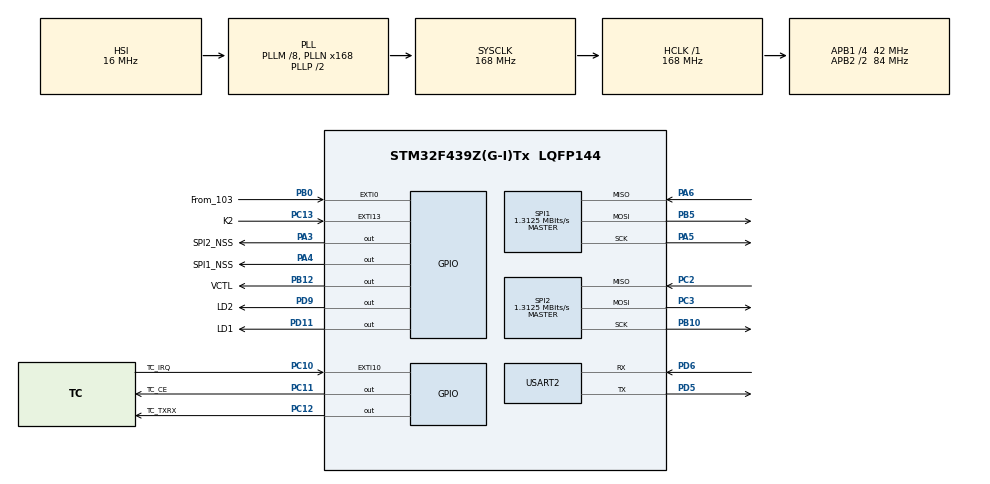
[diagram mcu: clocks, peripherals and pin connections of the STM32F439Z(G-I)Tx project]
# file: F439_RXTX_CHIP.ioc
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Mcu.Family=STM32F4
Mcu.Name=STM32F439Z(G-I)Tx
Mcu.Package=LQFP144
NVIC.EXTI0_IRQn=true\:0\:0\:false\:false\:true\:true\:true\:true
NVIC.EXTI15_10_IRQn=true\:0\:0\:false\:false\:true\:true\:true\:true
NVIC.PriorityGroup=NVIC_PRIORITYGROUP_4
NVIC.TIM4_IRQn=true\:0\:0\:false\:false\:true\:true\:true\:true
NVIC.USART2_IRQn=true\:0\:0\:false\:false\:true\:true\:true\:true
PA3.GPIO_Label=SPI2_NSS
PA3.Signal=GPIO_Output
PA4.GPIO_Label=SPI1_NSS
PA4.Signal=GPIO_Output
PA5.Mode=Full_Duplex_Master
PA5.Signal=SPI1_SCK
PA6.Mode=Full_Duplex_Master
PA6.Signal=SPI1_MISO
PB0.GPIO_Label=From_103
PB0.Signal=GPXTI0
PB10.Mode=Full_Duplex_Master
PB10.Signal=SPI2_SCK
PB12.GPIO_Label=VCTL
PB12.Signal=GPIO_Output
PB5.Mode=Full_Duplex_Master
PB5.Signal=SPI1_MOSI
PC10.GPIO_Label=TC_IRQ
PC10.Signal=GPXTI10
PC11.GPIO_Label=TC_CE
PC11.Signal=GPIO_Output
PC12.GPIO_Label=TC_TXRX
PC12.Signal=GPIO_Output
PC13.GPIO_Label=K2
PC13.Signal=GPXTI13
PC14/OSC32_IN.Mode=LSE-External-Clock-Source
PC14/OSC32_IN.Signal=RCC_OSC32_IN
PC15/OSC32_OUT.Mode=LSE-External-Clock-Source
PC15/OSC32_OUT.Signal=RCC_OSC32_OUT
PC2.Mode=Full_Duplex_Master
PC2.Signal=SPI2_MISO
PC3.Mode=Full_Duplex_Master
PC3.Signal=SPI2_MOSI
PD11.GPIO_Label=LD1
PD11.Signal=GPIO_Output
PD5.Mode=Asynchronous
PD5.Signal=USART2_TX
PD6.Mode=Asynchronous
PD6.Signal=USART2_RX
PD9.GPIO_Label=LD2
PD9.Signal=GPIO_Output
PG11.Signal=ETH_TX_EN
PH0/OSC_IN.Mode=HSE-External-Oscillator
PH0/OSC_IN.Signal=RCC_OSC_IN
PH1/OSC_OUT.Mode=HSE-External-Oscillator
PH1/OSC_OUT.Signal=RCC_OSC_OUT
ProjectManager.HeapSize=0x200
ProjectManager.StackSize=0x400
ProjectManager.TargetToolchain=MDK-ARM V5.32
RCC.48MHZClocksFreq_Value=84000000
RCC.AHBFreq_Value=168000000
RCC.APB1CLKDivider=RCC_HCLK_DIV4
RCC.APB1Freq_Value=42000000
RCC.APB1TimFreq_Value=84000000
RCC.APB2CLKDivider=RCC_HCLK_DIV2
RCC.APB2Freq_Value=84000000
RCC.APB2TimFreq_Value=168000000
RCC.CortexFreq_Value=168000000
RCC.HCLKFreq_Value=168000000
RCC.HSE_VALUE=8000000
RCC.HSI_VALUE=16000000
RCC.LSE_VALUE=32768
RCC.PLLM=8
RCC.PLLN=168
RCC.RCC_RTC_Clock_SourceVirtual=RCC_RTCCLKSOURCE_HSE_DIV16
RCC.RCC_RTC_Clock_Source_FROM_HSE=RCC_RTCCLKSOURCE_HSE_DIV16
RCC.SYSCLKFreq_VALUE=168000000
RCC.SYSCLKSource=RCC_SYSCLKSOURCE_PLLCLK
RCC.VCOOutputFreq_Value=336000000
RTC.AsynchPrediv=124
RTC.Date=1
RTC.Hours=12
RTC.Minutes=22
RTC.Month=RTC_MONTH_AUGUST
RTC.SynchPrediv=3999
RTC.WeekDay=RTC_WEEKDAY_THURSDAY
RTC.Year=24
SPI1.BaudRatePrescaler=SPI_BAUDRATEPRESCALER_64
SPI1.CLKPolarity=SPI_POLARITY_LOW
SPI1.CalculateBaudRate=1.3125 MBits/s
SPI1.Direction=SPI_DIRECTION_2LINES
SPI1.Mode=SPI_MODE_MASTER
SPI1.VirtualType=VM_MASTER
SPI2.BaudRatePrescaler=SPI_BAUDRATEPRESCALER_32
SPI2.CalculateBaudRate=1.3125 MBits/s
SPI2.Direction=SPI_DIRECTION_2LINES
SPI2.Mode=SPI_MODE_MASTER
SPI2.VirtualType=VM_MASTER
TIM3.Prescaler=83
TIM4.Period=3899
TIM4.Prescaler=839
USART2.VirtualMode=VM_ASYNC
VP_CRC_VS_CRC.Mode=CRC_Activate
VP_RTC_VS_RTC_Activate.Mode=RTC_Enabled
VP_RTC_VS_RTC_Calendar.Mode=RTC_Calendar
VP_TIM3_VS_ClockSourceINT.Mode=Internal
VP_TIM4_VS_ClockSourceINT.Mode=Internal
board=custom

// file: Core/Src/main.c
/* USER CODE BEGIN Header */
/**
  ******************************************************************************
  * @file           : main.c
  * @brief          : Main program body
  ******************************************************************************
  * @attention
  *
  * Copyright (c) 2024 STMicroelectronics.
  * All rights reserved.
  *
  * This software is licensed under terms that can be found in the LICENSE file
  * in the root directory of this software component.
  * If no LICENSE file comes with this software, it is provided AS-IS.
  *
  ******************************************************************************
  */
  //鯵は岑ってる、このプロジェクトわ��う、でもね
  //It walked through BK5822 which can really be called shit and TC32169
  //And hereby it's going to develop a real RSU for Shanxi transportation
  //Thinking that gonna not be possible but I still develop on this cuz gotta no way else
  //This project has been compiled into C/C++ mixed due to data structures
  //Which is pretty bad for coders
  //とにかく　これは云輝に�yしいですね
  //---by エルウィン はちがつ、にじゅうろくひ
/* USER CODE END Header */
#include "main.h"
#include "crc.h"
#include "rtc.h"
#include "spi.h"
#include "tim.h"
#include "usart.h"
#include "gpio.h"

/* USER CODE BEGIN Includes */
#include "stdio.h"
#include "stdlib.h"
//#include "string.h"
#include "cassert"
//#include "BK5822.h"
#include "frame.h"
#include "layerni.h"
#include "TC32169.h"
#include "gurenge.h"
#include "time.h"
/* USER CODE END Includes */

/* USER CODE BEGIN PTD */
//#define OBU_VERSION
//#define ACCURATE_RX_MODE
//#define RSU_VERSION_LEGACY

#define RSU_VERSION
//#define CHEAP_THRILLS//test without PC
#define INTEGRATE_F103//test with F103 on chip level
//#define TCtest
#define RTC_TEST

/***********畠て駅勣************/
#define RSU_RECV_TEST
#define RSU_TRAN_TEST
//If u dont have a PC disable this
#define RSU_PC_INIT
/******************************/

#define transmit_MAXCNT 5

uint8_t Rxbuff;
volatile uint8_t FF_flg = 0;
uint8_t FF_cnt = 0;
uint16_t _frame_len = 0;
uint16_t _data_len = 0;
uint8_t pc_frame[MAX_LEN] = { 0 };
uint8_t pc_data[MAX_LEN] = { 0 };
uint8_t pc_data_tmp[MAX_LEN] = { 0 };
EF04Opt ef04;

uint8_t LSDU[128] = { 0 };
uint8_t LSDU_len;
uint8_t mac_address[4] = { 0 };
uint8_t mac_control;
uint8_t FCS[2];
uint8_t tx_buf[128];
uint8_t reg_test[4];
uint8_t rsctl = 0x00;

uint8_t RESET_triggered = 0;
uint8_t TC_rx_recved = 1;
volatile uint8_t transmit_permit = 0;
int rand_len;

extern uint8_t SwitchTx_USED;
extern uint8_t SwitchRx_USED;

#ifdef INTEGRATE_F103
volatile uint8_t F103_triggered = 0;
#endif // INTEGRATE_F103

#ifdef TCtest
uint8_t tctestarray[12] = { 0x7E, 0x88, 0x88, 0x88, 0x88, 0x07, 0x03, 0x91, 0x6D, 0x00, 0x02, 0x7E };
uint8_t tctestfreq[2] = { 0x00, 0x00 };
#endif // TCtest

#ifdef RSU_RECV_TEST
uint8_t tc_length[2];
uint16_t tc_length16;
#endif // TC_RECV_TEST

macctl_up OBU_macctl = 0x50;
Macs OBU_mac = { 0xFF, 0xFF, 0xFF, 0xFF };//test mac
#ifdef OBU_VERSION
Commu_Stage OBU_stage = RSU_BST;
#endif

#ifdef RSU_VERSION
Commu_Stage RSU_stage = RSU_BST;
#endif

#ifdef RTC_TEST
uint8_t unix[4] = { 0x5c, 0x2c, 0x6f, 0xcf };//16:01:19
const unsigned int ucnt = _u8_4_to_32(unix);
volatile unsigned int ucnt2;
#endif // RTC_TEST

/* USER CODE END PTD */

/* USER CODE BEGIN PD */
//int fputc(int ch, FILE* fp)  // 徭協吶堪笥嶷協�鮑�方��繍printf補竃欺USART3宴噐距編
//{
//    HAL_UART_Transmit(&huart2, (uint8_t*)&ch, 1, 0xff);
//    return ch;
//}
/* ------------------??????printf???????1?-------------------*/
namespace mystd
{
	template <int _Size = 128>
	void printf(const char* _Format)
	{
		char* words = new char[_Size];
		int len = sprintf(words, "%s", _Format);
		//assert(len < _Size);//corruption
		int cnt = 0;
		while (cnt < len)
		{
			HAL_UART_Transmit(&huart2, (uint8_t*)&words[cnt++], 1, 0xff);
		}
		delete[] words;
	}
}

void HAL_UART_RxCpltCallback(UART_HandleTypeDef* huart)
{
	//Assume uart? recved a frame from PC
	//Storage the whole frame into an array including 0xFF
	if (Rxbuff == PACK_START)
	{
		pc_frame[_frame_len++] = Rxbuff;
		FF_cnt++;
	}
	else
	{
		if (FF_cnt == 2) pc_frame[_frame_len++] = Rxbuff;
		//0xffff represents pack starts
	}
	if (FF_cnt == 3) {
		FF_cnt = 0;
		FF_flg = 1;
		//a frame ends
	}
	HAL_UART_Receive_IT(&huart2, (uint8_t*)&Rxbuff, 1);
}
void HAL_TIM_PeriodElapsedCallback(TIM_HandleTypeDef* htim)
{
	transmit_permit = 1;
}
/* USER CODE END PD */

void SystemClock_Config(void);
/* USER CODE BEGIN PFP */
//uint8_t BK_ID_read(void);
//void BK_reg_all_read(void);
/* USER CODE END PFP */

int main(void)
{
	/* USER CODE BEGIN 1 */
		//これで鯵が�h苧する
		/******************************/
		/*
		* Startup
		* Init by PC(UART)
		* keep BSTing
		* Trade, communicate with PC
		* done
		*/
		/******************************/
	int transmit_cnt = 0;
	uint8_t reTranlen = 0;
	//srand(0x7FFFFFFF);

  /* USER CODE END 1 */

  /* MCU Configuration--------------------------------------------------------*/

  /* Reset of all peripherals, Initializes the Flash interface and the Systick. */
	HAL_Init();

	/* Configure the system clock */
	SystemClock_Config();

	/* Initialize all configured peripherals */
	MX_GPIO_Init();
	MX_CRC_Init();
	MX_SPI1_Init();
	MX_SPI2_Init();
	MX_TIM3_Init();
	MX_TIM4_Init();
	MX_USART2_UART_Init();
	MX_RTC_Init();
	/* USER CODE BEGIN 2 */
	//printf("SYSTEM INIT\n");
	srand(2077);
	//srand(time(NULL));
	HAL_TIM_Base_Start_IT(&htim4);
	HAL_UART_Receive_IT(&huart2, (uint8_t*)&Rxbuff, 1);
	//BK_init();
	TC_init();
	ToggleLD1();
	OBU_mac.macctl = (uint8_t)OBU_macctl;
	//rx_status_d = 0x00;
	SwitchRx();
	/* USER CODE END 2 */

	/* Infinite loop */
	/* USER CODE BEGIN WHILE */
	TC_TxPrepare();
	//printf("TC32169 has been initialized. TX mode by default.\n");
	//#ifdef RSU_RECV_TEST
//	TC_Next_Rx();
//	TC_Rx();
//	delay_us(44);
//	printf("MODE CHANGED TO RECV\n");
//#endif // RSU_RECV_TEST
#ifdef RSU_TRAN_TEST
	transmit_permit = 1;

#ifdef RSU_PC_INIT

	//Here init by PC upward

	//trans B0, 0x98
	uint8_t* B0temp = new uint8_t[27]{
		0xB0, 0x00, 0x01,
		0x88, 0x88, 0x88, 0x88, 0x88, 0x88,
		0x99, 0x99, 0x99, 0x99, 0x99, 0x99,
		0x77, 0x66, 0x12, 0x34, 0x56, 0x88, 0x88,
		0x00, 0x00, 0x00, 0x00, 0x00
	};
	frame_build(0x98, pc_frame, B0temp, (uint16_t)27U);
	HAL_UART_Transmit(&huart2, pc_frame, 27 + 5, 0xff);
	memset(pc_frame, 0, 128);
	//recv C0
	while (!FF_flg)
	{
	}
	frame_parse(pc_frame, pc_data, &rsctl, _frame_len, &_data_len);
	if (pc_data[0] != 0xC0)
	{
		mystd::printf<>("ERROR NO INIT FRAME RECEIVED\n");
		exit(EXIT_FAILURE);
	}
	unix[0] = pc_data[1];
	unix[1] = pc_data[2];
	unix[2] = pc_data[3];
	unix[3] = pc_data[4];
	ef04.EF04Opt = pc_data[17];
	ef04.EF04offset = (uint16_t)(pc_data[18] << 8 | pc_data[19]);
	ef04.EF04len = (uint16_t)(pc_data[20] << 8 | pc_data[21]);
	//trans B0, not 0x98
	memset(pc_frame, 0, 128);
	frame_build(0x78, pc_frame, B0temp, (uint16_t)27U);
	delete[] B0temp;
	HAL_UART_Transmit(&huart2, pc_frame, 27 + 5, 0xff);
	//recv empty
	while (!FF_flg)
	{
	}
	memset(pc_frame, 0, 128);

#endif // RSU_PC_INIT

#endif // RSU_TRAN_TEST

#ifdef RTC_TEST
	unixTime_setRTC(unix, &hrtc);
#endif // RTC_TEST

	uint8_t* BaconID = new uint8_t[4]{ 0x02,0x00,0x00,0x7A };
	uint8_t* len22 = new uint8_t[2]{ 0x00, 0x01 };
	uint8_t* len122 = new uint8_t[2]{ 0x00, 0x01 };
	uint8_t* len152 = new uint8_t[2]{ 0x00, 0x01 };
	uint8_t* len192 = new uint8_t[2]{ 0x00, 0x01 };
	_BST cbst(BaconID, unix, 0x01, 0x1A,
		len22, len122, len152, len192);
	delete[] BaconID;
	delete[] len22;
	delete[] len122;
	delete[] len152;
	delete[] len192;

	uint8_t* RndRSU = new uint8_t[8]{ 0x12, 0x23, 0x34, 0x45,
	0x56, 0x67, 0x78, 0x89 };
	_GetSecureRq cgsrq(RndRSU, 0x90, 0x01);
	delete[] RndRSU;

	_TransferChannelRq ctcrq(0x99);

	_EventReportRq cerrq;

	while (1)
	{
		/* USER CODE END WHILE */

		/* USER CODE BEGIN 3 */
		for (int i = 0; i < 1e6 / 1000; i++)
		{
			delay_us(1000);
		}
		unixTime_setFrame(unix, &hrtc);
		ucnt2 = _u8_4_to_32(unix);
		if ((ucnt2 - ucnt) % 5 == 0) ToggleLD2();
		mystd::printf<15>("Debug session.\n");
		//HAL_UART_Transmit(&huart2, unix, 4, 0xff);
#ifdef TCtest
			//TC_TxPrepare();
	//		TC_read_reg(TCread | _reg7, tctestfreq, 2);
	//		printf("First=%02X%02X\n", tctestfreq[0], tctestfreq[1]);
		TC_write_fifo(tctestarray, 3);
		HAL_Delay(10);
		//		TC_read_reg(TCread | _reg10, tctestfreq, 2);
		//		printf("PWR=%02X%02X, reference = 0003\n", tctestfreq[0], tctestfreq[1]);
#endif // TCtest
#ifdef RSU_TRAN_TEST
		if (RSU_stage >= RSU_BST && RSU_stage <= RSU_release)
		{
			//F103_triggered = detected car in range
			if (F103_triggered || RSU_stage == RSU_release)
			{
				//兜めてのジェネレ�`ション
				if (transmit_cnt == 0)
				{
					memset(LSDU, 0, 128);
					memset(tx_buf, 0, 128);
					//tx_buf[0] = (uint8_t)RSU_stage;
					//rand_len = rand() % 10;
					//for (int i = 1; i <= rand_len; i++)
					//{
					//	tx_buf[i] = tx_buf[i] | (uint8_t)rand();
					//	if (tx_buf[i] == 0x7E) tx_buf[i] = 0x7F;
					//}

					//LSDU_build(LSDU, tx_buf, rand_len + 1);
					//memset(tx_buf, 0, 128);
					//recv_build(tx_buf, LSDU, &OBU_mac, rand_len + 3);
					//Transmit at the beginning
					//TC_write_fifo(tx_buf, 3 + 9 + rand_len);
					if (RSU_stage == RSU_BST)
					{
						OBU_mac.macadd[0] = 0xFF;
						OBU_mac.macadd[1] = 0xFF;
						OBU_mac.macadd[2] = 0xFF;
						OBU_mac.macadd[3] = 0xFF;
						unixTime_setFrame(unix, &hrtc);
						cbst.update_unix(unix);
						cbst.msg_construct(tx_buf);
						LSDU_build(LSDU, tx_buf, cbst.lengthwa());
						recv_build(tx_buf, LSDU, &OBU_mac, cbst.lengthwa() + 2);
						TC_write_fifo(tx_buf, cbst.lengthwa() + 11);
						reTranlen = cbst.lengthwa() + 11;
					}
					else if (RSU_stage == RSU_baseinfo)
					{
						cgsrq.msg_construct(tx_buf);
						LSDU_build(LSDU, tx_buf, cgsrq.lengthwa());
						recv_build(tx_buf, LSDU, &OBU_mac, cgsrq.lengthwa() + 2);
						TC_write_fifo(tx_buf, cgsrq.lengthwa() + 11);
						reTranlen = cgsrq.lengthwa() + 11;
					}
					else if (RSU_stage == RSU_release)
					{
						cerrq.msg_construct(tx_buf);
						LSDU_build(LSDU, tx_buf, cerrq.lengthwa());
						recv_build(tx_buf, LSDU, &OBU_mac, cerrq.lengthwa() + 2);
						TC_write_fifo(tx_buf, cerrq.lengthwa() + 11);
						reTranlen = cerrq.lengthwa() + 11;
					}
					else//ctcrq //am i writing ptaisa lol
					{

					}
					transmit_cnt++;
				}
				//transmit if didnt recv anything
				// a timer is needed for every 13 ms permits a transmission
				//plan - TIM4, 13000us cycle
				if (transmit_permit && !TC_rx_recved)
				{
					TC_Next_Tx();
					TC_Tx();
					delay_us(44);
					//printf("Didn't recv, retrasmitting...\n");
					TC_write_fifo(tx_buf, reTranlen);
					transmit_cnt++;
					transmit_permit = 0;
					//exceeded
					if (transmit_cnt > transmit_MAXCNT)
					{
						RSU_stage = RSU_BST;
						transmit_cnt = 0;
						//printf("Congratulations! Transmission Stack Overload!\n");
					}
				}
				//transmitted, wait for recv->change stat or retrans
				if (TC_tran_stat == 0x01)
				{
					TC_rx_recved = 0;
					TC_tran_stat = 0x00;
					//next for RX
					TC_Next_Rx();
					TC_Rx();
					delay_us(44);

				}
			}
		}
#endif // RSU_TRAN_TEST

#ifdef RSU_RECV_TEST
		if (TC_recv_stat == 0x01)
		{
			//got frame
			  //printf("Received the following msgs: \n");
			TC_recv_stat = 0x00;
			TC_read_length(tc_length);
			tc_length16 = ((uint16_t)tc_length[0] << 8) | tc_length[1];
			//printf("Length = %d\n", tc_length16);
			if (/*tc_length16 == 0 || */TC_rxlen_err || TC_rx_abort)
			{
				RESET_triggered = 1;
				TC_autoreset();
				TC_Next_Rx();
				TC_Rx();
				delay_us(44);
			}
			if (!RESET_triggered && tc_length16)
			{
				TC_read_fifo(TC_buf, tc_length16);
				for (int i = 0; i < tc_length16; i++)
				{
					printf("%02X, ", TC_buf[i]);
				}
				printf("\n");
				//parse frame
				recv_parse(TC_buf, mac_address, &mac_control, LSDU, FCS, &LSDU_len);
				//state machine switch
				if (RSU_stage == RSU_BST)
				{
					//recved VST, info store
					OBU_mac.macadd[0] = mac_address[0];
					OBU_mac.macadd[1] = mac_address[1];
					OBU_mac.macadd[2] = mac_address[2];
					OBU_mac.macadd[3] = mac_address[3];
					pc_data[0] = 0xB2;
					pc_data[1] = mac_address[0];
					pc_data[2] = mac_address[1];
					pc_data[3] = mac_address[2];
					pc_data[4] = mac_address[3];
					pc_data[5] = 0x00;
					pc_data[6] = LSDU[9];
					pc_data[7] = LSDU[10];
					pc_data[8] = LSDU[11];
					pc_data[9] = LSDU[12];
					pc_data[10] = LSDU[13];
					pc_data[11] = LSDU[14];
					pc_data[12] = LSDU[15];
					pc_data[13] = LSDU[16];//contractProvider
					pc_data[14] = LSDU[17];//contractType
					pc_data[15] = LSDU[18];//contractVer
					pc_data[16] = LSDU[19];
					pc_data[17] = LSDU[20];
					pc_data[18] = LSDU[21];
					pc_data[19] = LSDU[22];
					pc_data[20] = LSDU[23];
					pc_data[21] = LSDU[24];
					pc_data[22] = LSDU[25];
					pc_data[23] = LSDU[26];//contractSerialNum
					pc_data[24] = LSDU[27];
					pc_data[25] = LSDU[28];
					pc_data[26] = LSDU[29];
					pc_data[27] = LSDU[30];
					pc_data[28] = LSDU[31];
					pc_data[29] = LSDU[32];
					pc_data[30] = LSDU[33];
					pc_data[31] = LSDU[34];//contractDate
					pc_data[32] = 0x00;
					pc_data[33] = LSDU[LSDU_len - 2];
					pc_data[34] = LSDU[LSDU_len - 1];
					//transmit B2 to PC
					data_preprocess(pc_data_tmp, pc_data, 35, &_data_len, 't');
					rsctl = 0x08;
					frame_build(rsctl, pc_frame, pc_data_tmp, _data_len);
					HAL_UART_Transmit(&huart2, pc_frame, _data_len + 5, 0xfff);
					//nothing to do, wait for PC's C1, state->baseinfo there
				}
				else if (RSU_stage == RSU_baseinfo)
				{
					//recved baseinfo of vehicle, info process

					//change to state 00190002 to new dsrc

				}
				else if (RSU_stage == RSU_00190002)
				{
					//recved 00190002 of vehicle,

					//change to state EF04

				}
				else if (RSU_stage == RSU_EF04)
				{
					//recved EF04

					//transmit B4 to PC

					//wait for PC's C6, state->EF04update
				}
				else if (RSU_stage == RSU_EF04update)
				{
					//recved EF04update

					//change to state 0019
				}
				else if (RSU_stage == RSU_0019)
				{
					//recved 0019

					//change to state 0002

				}
				else if (RSU_stage == RSU_0002)
				{
					//recved 0002

					//transmit B5 to PC

					//wait for PC's C1 and transmit EventReport
				}
				//release state ends in CHEAP THRILL

				/*
				if (LSDU[2] == (uint8_t)OBU_VST) {
					// transmit frame to PC
					printf("VST state set.\nOBU info:\n");
					for (int i = 3; i < LSDU_len; i++)
					{
						printf("%02X, ", LSDU[i]);
					}
					printf("\n");
#ifdef CHEAP_THRILLS
						RSU_stage = RSU_baseinfo;
						transmit_cnt = 0;
#endif // CHEAP_THRILLS
					}
					else if (LSDU[2] == (uint8_t)OBU_baseinfo) {
						//RSU stage to next, 00190002
						RSU_stage = RSU_00190002;
						transmit_cnt = 0;
					}
					else if (LSDU[2] == (uint8_t)OBU_00190002) {
						//RSU stage to next
						RSU_stage = RSU_EF04;
						transmit_cnt = 0;
					}
					else if (LSDU[2] == (uint8_t)OBU_EF04) {
						//transmit frame to PC
						printf("EF04 file of OBU has been recved.\n");
#ifdef CHEAP_THRILLS
						RSU_stage = RSU_EF04update;
						transmit_cnt = 0;
#endif // CHEAP_THRILLS
					}
					else if (LSDU[2] == (uint8_t)OBU_EF04update) {
						//RSU stage to next
						RSU_stage = RSU_0019;
						transmit_cnt = 0;
					}
					else if (LSDU[2] == (uint8_t)OBU_0019) {
						//RSU stage to next
						RSU_stage = RSU_0002;
						transmit_cnt = 0;
					}
					else if (LSDU[2] == (uint8_t)OBU_0002) {
						//transmit frame to PC
						printf("0002 file of OBU has been recved.\n");
#ifdef CHEAP_THRILLS
						RSU_stage = RSU_release;
						F103_triggered = 0;
						transmit_cnt = 0;
#endif // CHEAP_THRILLS
					}
					//SPECIALLY TEST FOR STAGE 6D
					else if (LSDU[2] == (uint8_t)0x6D) {
						//transmit frame to PC
						printf("6D file has been recved.\n");
#ifdef CHEAP_THRILLS
						RSU_stage = RSU_release;
						F103_triggered = 0;
						transmit_cnt = 0;
#endif // CHEAP_THRILLS
					}

					else {
						//RSU stage to next
						RSU_stage = RSU_BST;
						transmit_cnt = 0;
					}
					*/
				TC_rx_recved = 1;
				//next for TX
				TC_Next_Tx();
				TC_Tx();
				delay_us(44);
				//printf("MODE CHANGED TO TRAN\n");
			}
			RESET_triggered = 0;
			}
#ifndef CHEAP_THRILLS
		if (FF_flg) {
			printf("recved frame from pc\n");
			FF_flg = 0;
			//_frame_len pc_frame
			frame_parse(pc_frame, pc_data, &rsctl, _frame_len, &_data_len);
			_frame_len = 0;
			//Then get to know what to do next, for example transmit msg to OBU
			//also, if rx_status_d = 1, may need to transmit frame to PC.
			if (pc_data[0] == 0xC1 && RSU_stage == RSU_BST) {
				RSU_stage = RSU_baseinfo;
				transmit_cnt = 0;
			}
			else if (pc_data[0] == 0xC6 && RSU_stage == RSU_EF04) {
				RSU_stage = RSU_EF04update;
				transmit_cnt = 0;
			}
			else if (pc_data[0] == 0xC1 && RSU_stage == RSU_0002) {
				RSU_stage = RSU_release;
				transmit_cnt = 0;
			}
		}
#endif // !CHEAP_THRILLS

#endif // RSU_RECV_TEST

		//BK_reg_all_read();
		//parsing for frames from pc or 5822
#ifdef OBU_VERSION

#ifdef ACCURATE_RX_MODE
	  //rx_len rx_buf
	  //parse the frame, then 5822 write fifo to response
	  //or uart transmit to pc..

#endif
#endif

#ifdef RSU_VERSION_LEGACY
		//RSU to lane controller
		if (RSU_stage >= RSU_BST && RSU_stage <= RSU_release) {
			//transmit BST to initialize trading
			SwitchTx();
			if (transmit_cnt < transmit_MAXCNT) {
				transmit_cnt++;
				memset(LSDU, 0, Rxbuf_size);
				tx_buf[0] = (uint8_t)RSU_stage;
				rand_len = rand() % 10;
				for (int i = 1; i <= rand_len; i++) {
					tx_buf[i] = tx_buf[i] | (uint8_t)rand();
					if (tx_buf[i] == 0x7E) tx_buf[i] = 0x7F;
					//					printf("%02X-", tx_buf[i]);
				}
				LSDU_build(LSDU, tx_buf, 1 + rand_len);
				memset(tx_buf, 0, 256);
				recv_build(tx_buf, LSDU, &OBU_mac, 3 + rand_len);
				BK_write_fifo(tx_buf, 3 + 9 + rand_len);
			}
			else {
				transmit_cnt = 0;
				//printf("OBU no response\n");
				printf("RSU_stage = %02X, %d", (uint8_t)RSU_stage, RSU_stage);
				//RSU_stage = RSU_BST;
				RSU_stage += 1;
			}
		}
		if (FF_flg) {
			printf("recved frame from pc\n");
			FF_flg = 0;
			//_frame_len pc_frame
			frame_parse(pc_frame, pc_data, &rsctl, _frame_len, &_data_len);
			_frame_len = 0;
			//Then get to know what to do next, for example transmit msg to OBU
			//also, if rx_status_d = 1, may need to transmit frame to PC.
			if (rsctl == 0xC1 && RSU_stage == RSU_BST) {
				RSU_stage = RSU_baseinfo;
				transmit_cnt = 0;
			}
			else if (rsctl == 0xC6 && RSU_stage == RSU_EF04) {
				RSU_stage = RSU_EF04update;
				transmit_cnt = 0;
			}
			else if (rsctl == 0xC1 && RSU_stage == RSU_0002) {
				RSU_stage = RSU_release;
				transmit_cnt = 0;
			}
		}
		if (rx_status_d == 0x01) {
			//recved from OBU
			printf("recved msg, start processing\n");
			ToggleLD1();
			rx_status_d = 0x00;
			BK_read_fifo();
#ifdef DEBUG_MODE
			printf("rx_len = %02x\n", rx_len);
			for (int i = 0; i < rx_len; i++) {
				printf("%02x,", rx_buf[i]);
			}
#endif
			if (rx_len > 0) {
				//recv_parse(rx_buf, mac_address, &mac_control, LSDU, FCS, &LSDU_len);
				//LSDU contains command era and status era for 2 bytes. Exclude them.
				if (LSDU[2] == (uint8_t)OBU_VST) {
					// transmit frame to PC
					printf("Frame to PC : B2\n");
				}
				else if (LSDU[2] == (uint8_t)OBU_baseinfo) {
					//RSU stage to next, 00190002
					RSU_stage = RSU_00190002;
					transmit_cnt = 0;
		}
				else if (LSDU[2] == (uint8_t)OBU_00190002) {
					//RSU stage to next
					RSU_stage = RSU_EF04;
					transmit_cnt = 0;
				}
				else if (LSDU[2] == (uint8_t)OBU_EF04) {
					//transmit frame to PC
					printf("Frame to PC : B4\n");
				}
				else if (LSDU[2] == (uint8_t)OBU_EF04update) {
					//RSU stage to next
					RSU_stage = RSU_0019;
					transmit_cnt = 0;
				}
				else if (LSDU[2] == (uint8_t)OBU_0019) {
					//RSU stage to next
					RSU_stage = RSU_0002;
					transmit_cnt = 0;
				}
				else if (LSDU[2] == (uint8_t)OBU_0002) {
					//transmit frame to PC
					printf("Frame to PC : B5\n");
				}
				else {
					//RSU stage to next
					RSU_stage = RSU_BST;
					transmit_cnt = 0;
				}
	}
}
		if (RSU_stage == RSU_release) {
			RSU_stage = RSU_BST;
			transmit_cnt = 0;
		}
		//BK_clear_intr(ASK_Irqn_ALL);
#endif
		}

	/* USER CODE END 3 */
}

void SystemClock_Config(void)
{
	RCC_OscInitTypeDef RCC_OscInitStruct = { 0 };
	RCC_ClkInitTypeDef RCC_ClkInitStruct = { 0 };

	/** Configure the main internal regulator output voltage
	*/
	__HAL_RCC_PWR_CLK_ENABLE();
	__HAL_PWR_VOLTAGESCALING_CONFIG(PWR_REGULATOR_VOLTAGE_SCALE1);

	/** Initializes the RCC Oscillators according to the specified parameters
	* in the RCC_OscInitTypeDef structure.
	*/
	RCC_OscInitStruct.OscillatorType = RCC_OSCILLATORTYPE_HSI | RCC_OSCILLATORTYPE_HSE;
	RCC_OscInitStruct.HSEState = RCC_HSE_ON;
	RCC_OscInitStruct.HSIState = RCC_HSI_ON;
	RCC_OscInitStruct.HSICalibrationValue = RCC_HSICALIBRATION_DEFAULT;
	RCC_OscInitStruct.PLL.PLLState = RCC_PLL_ON;
	RCC_OscInitStruct.PLL.PLLSource = RCC_PLLSOURCE_HSI;
	RCC_OscInitStruct.PLL.PLLM = 8;
	RCC_OscInitStruct.PLL.PLLN = 168;
	RCC_OscInitStruct.PLL.PLLP = RCC_PLLP_DIV2;
	RCC_OscInitStruct.PLL.PLLQ = 4;
	if (HAL_RCC_OscConfig(&RCC_OscInitStruct) != HAL_OK)
	{
		Error_Handler();
	}

	/** Initializes the CPU, AHB and APB buses clocks
	*/
	RCC_ClkInitStruct.ClockType = RCC_CLOCKTYPE_HCLK | RCC_CLOCKTYPE_SYSCLK
		| RCC_CLOCKTYPE_PCLK1 | RCC_CLOCKTYPE_PCLK2;
	RCC_ClkInitStruct.SYSCLKSource = RCC_SYSCLKSOURCE_PLLCLK;
	RCC_ClkInitStruct.AHBCLKDivider = RCC_SYSCLK_DIV1;
	RCC_ClkInitStruct.APB1CLKDivider = RCC_HCLK_DIV4;
	RCC_ClkInitStruct.APB2CLKDivider = RCC_HCLK_DIV2;

	if (HAL_RCC_ClockConfig(&RCC_ClkInitStruct, FLASH_LATENCY_5) != HAL_OK)
	{
		Error_Handler();
	}
}

/* USER CODE BEGIN 4 */
//uint8_t BK_ID_read(void)
//{
//	uint8_t buffer[4];
//	uint8_t cmd[] = {0x00};//read reg0 7:0 for chipID
//	BKenable();
//	HAL_SPI_Transmit(&hspi1, cmd, 1, 0xff);
//	if(HAL_SPI_Receive(&hspi1, (uint8_t *)&buffer, 4, 0xff) != HAL_OK)
//	{
//		printf("ID read ERROR\n");
//		return 0xFF;
//	}
//	BKdisable();
//	printf("reg0 = %02x%02x%02x%02x\n", buffer[0],buffer[1],buffer[2],buffer[3]);
//	//printf("chipID = %x\n", buffer[3]);
//	return buffer[0];
//}

/*void SPI1_self_test(void)
{
	uint8_t cmd[] = {'S','P','I','-','-','1'};
	HAL_SPI_TransmitReceive(&hspi1, cmd, (uint8_t *)&buffer, 6, 0xff);
	printf("SPI1 selftesting...\nThe following line will show SPI--1 if it's ok\n");
	printf("%s\n", buffer);
	printf("If the line beyond looks strange pls check SPI1 MOSI-MISO connectivity\n");
}
*/
//void BK_reg_all_read(void)
//{
//	ToggleLD1();
//	BK_read_reg(reg0, reg_test, 4);
//		printf("reg0 = %02x%02x%02x%02x\n", reg_test[0],reg_test[1],reg_test[2],reg_test[3]);
//
//		BK_read_reg(reg0, reg_test, 4);
//		printf("reg0 = %02x%02x%02x%02x\n", reg_test[0],reg_test[1],reg_test[2],reg_test[3]);
//
//		BK_read_reg(reg1, reg_test, 4);
//		printf("reg1 = %02x%02x%02x%02x\n", reg_test[0],reg_test[1],reg_test[2],reg_test[3]);
//
//		BK_read_reg(reg2, reg_test, 4);
//		printf("reg2 = %02x%02x%02x%02x\n", reg_test[0],reg_test[1],reg_test[2],reg_test[3]);
//
//		BK_read_reg(reg3, reg_test, 4);
//		printf("reg3 = %02x%02x%02x%02x\n", reg_test[0],reg_test[1],reg_test[2],reg_test[3]);
//
//		BK_read_reg(reg4, reg_test, 4);
//		printf("reg4 = %02x%02x%02x%02x\n", reg_test[0],reg_test[1],reg_test[2],reg_test[3]);
//
//		BK_read_reg(reg5, reg_test, 4);
//		printf("reg5 = %02x%02x%02x%02x\n", reg_test[0],reg_test[1],reg_test[2],reg_test[3]);
//
//		BK_read_reg(reg6, reg_test, 4);
//		printf("reg6 = %02x%02x%02x%02x\n", reg_test[0],reg_test[1],reg_test[2],reg_test[3]);
//
//		BK_read_reg(reg7, reg_test, 4);
//		printf("reg7 = %02x%02x%02x%02x\n", reg_test[0],reg_test[1],reg_test[2],reg_test[3]);
//
//		BK_read_reg(reg8, reg_test, 4);
//		printf("reg8 = %02x%02x%02x%02x\n", reg_test[0],reg_test[1],reg_test[2],reg_test[3]);
//
//		BK_read_reg(reg9, reg_test, 4);
//		printf("reg9 = %02x%02x%02x%02x\n", reg_test[0],reg_test[1],reg_test[2],reg_test[3]);
//
//		BK_read_reg(reg10, reg_test, 4);
//		printf("reg10 = %02x%02x%02x%02x\n", reg_test[0],reg_test[1],reg_test[2],reg_test[3]);
//
//		BK_read_reg(reg11, reg_test, 4);
//		printf("reg11 = %02x%02x%02x%02x\n", reg_test[0],reg_test[1],reg_test[2],reg_test[3]);
//
//		BK_read_reg(reg12, reg_test, 4);
//		printf("reg12 = %02x%02x%02x%02x\n", reg_test[0],reg_test[1],reg_test[2],reg_test[3]);
//
//		BK_read_reg(reg13, reg_test, 4);
//		printf("reg13 = %02x%02x%02x%02x\n", reg_test[0],reg_test[1],reg_test[2],reg_test[3]);
//
//		BK_read_reg(reg14, reg_test, 4);
//		printf("reg14 = %02x%02x%02x%02x\n", reg_test[0],reg_test[1],reg_test[2],reg_test[3]);
//
//		BK_read_reg(reg15, reg_test, 4);
//		printf("reg15 = %02x%02x%02x%02x\n", reg_test[0],reg_test[1],reg_test[2],reg_test[3]);
//
//		BK_read_reg(reg17, reg_test, 4);
//		printf("reg17 = %02x%02x%02x%02x\n", reg_test[0],reg_test[1],reg_test[2],reg_test[3]);
//
//		BK_read_reg(reg18, reg_test, 4);
//		printf("reg18 = %02x%02x%02x%02x\n", reg_test[0],reg_test[1],reg_test[2],reg_test[3]);
//
//		BK_read_reg(reg0, reg_test, 4);
//		printf("reg0 = %02x%02x%02x%02x\n", reg_test[0],reg_test[1],reg_test[2],reg_test[3]);
//
//		printf("chipID = %02x\n", BK_ID_read());
//		//HAL_Delay(1500);
//}
/* USER CODE END 4 */

void Error_Handler(void)
{
	__disable_irq();
	while (1)
	{
	}
}
